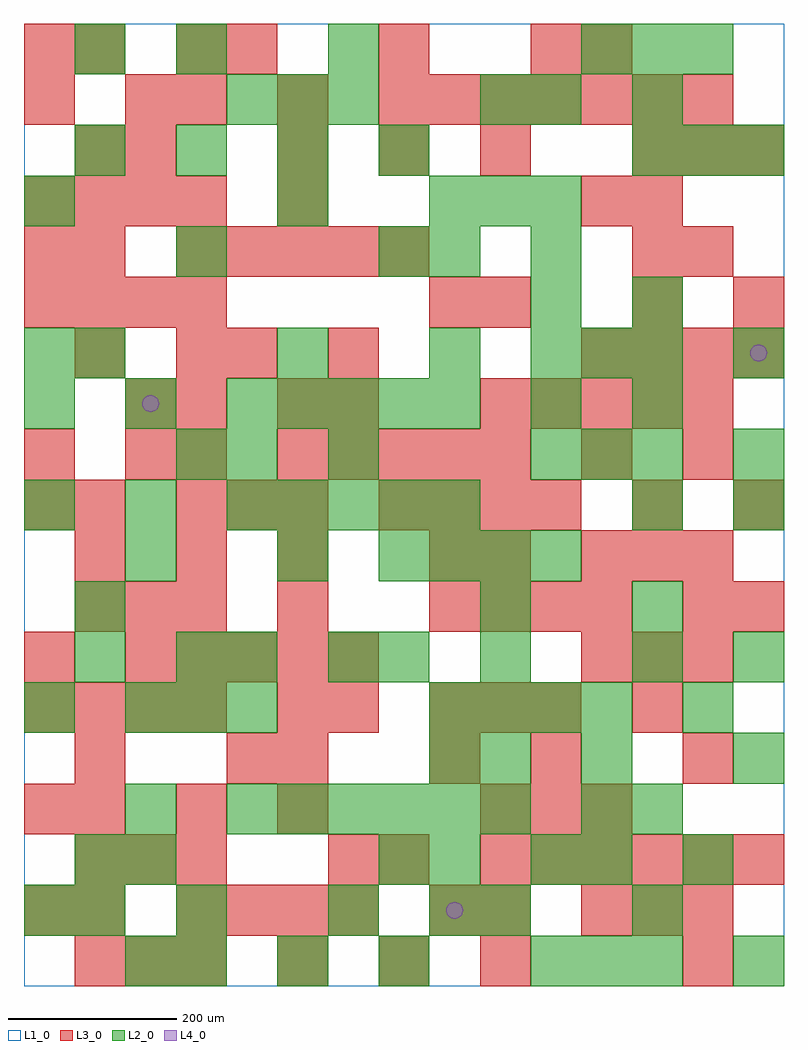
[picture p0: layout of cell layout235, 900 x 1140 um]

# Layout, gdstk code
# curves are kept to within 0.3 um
import gdstk
lib = gdstk.Library(unit=1e-6, precision=1e-09)
def R(c, l, rs):  # rectangles x0, y0, x1, y1
    for r in rs: c.add(gdstk.rectangle(r[:2], r[2:], *l))
def A(c, l, x, y, w, h, nx, ny, dx, dy):  # array of equal rectangles
    R(c, l, [(x+i*dx, y+j*dy, x+i*dx+w, y+j*dy+h) for i in range(nx) for j in range(ny)])
def P(c, l, *ps):  # polygons
    for p in ps: c.add(gdstk.Polygon(p, *l))
L1_0 = (1, 0)
L2_0 = (2, 0)
L3_0 = (3, 0)
L4_0 = (4, 0)

layout235 = lib.new_cell('layout235')
R(layout235, L1_0, [(0,0,900,1140)])
A(layout235, L2_0, 180, 0, 60, 60, 3, 1, 120, 0)
A(layout235, L2_0, 600, 0, 60, 60, 3, 2, 60, 600)
A(layout235, L2_0, 660, 120, 60, 60, 1, 3, 0, 60)
A(layout235, L2_0, 240, 180, 60, 60, 6, 1, 60, 0)
A(layout235, L2_0, 120, 300, 60, 60, 3, 1, 60, 0)
A(layout235, L2_0, 480, 300, 60, 60, 4, 1, 60, 0)
A(layout235, L2_0, 180, 360, 60, 60, 1, 4, 0, 240)
A(layout235, L2_0, 720, 420, 60, 60, 1, 4, 0, 120)
A(layout235, L2_0, 420, 480, 60, 60, 4, 1, 60, 0)
A(layout235, L2_0, 0, 540, 60, 60, 3, 2, 120, 120)
A(layout235, L2_0, 300, 540, 60, 60, 4, 2, 60, 120)
A(layout235, L2_0, 600, 720, 60, 60, 3, 1, 60, 0)
A(layout235, L2_0, 480, 900, 60, 60, 3, 1, 60, 0)
A(layout235, L2_0, 60, 960, 60, 60, 4, 1, 120, 0)
A(layout235, L2_0, 720, 960, 60, 60, 3, 1, 60, 0)
A(layout235, L2_0, 240, 1020, 60, 60, 3, 1, 60, 0)
A(layout235, L2_0, 660, 1080, 60, 60, 3, 1, 60, 0)
R(layout235, L2_0, [(120,0,180,60), (840,0,900,60), (0,60,60,120), (60,60,120,120), (180,60,240,120), (360,60,420,120), (480,60,540,120), (540,60,600,120), (720,60,780,120), (60,120,120,180), (120,120,180,180), (420,120,480,180), (480,120,540,180), (600,120,660,180), (780,120,840,180), (120,180,180,240), (720,180,780,240), (480,240,540,300), (540,240,600,300), (840,240,900,300), (0,300,60,360), (780,300,840,360), (60,360,120,420), (240,360,300,420), (360,360,420,420), (420,360,480,420), (540,360,600,420), (720,360,780,420), (840,360,900,420), (60,420,120,480), (540,420,600,480), (120,480,180,540), (300,480,360,540), (840,540,900,600), (240,600,300,660), (360,600,420,660), (840,600,900,660), (600,660,660,720), (0,720,60,780), (60,720,120,780), (300,720,360,780), (480,720,540,780), (840,720,900,780), (600,780,660,840), (420,840,480,900), (480,840,540,900), (600,840,660,900), (0,900,60,960), (300,900,360,960), (540,1020,600,1080), (600,1020,660,1080), (720,1020,780,1080), (60,1080,120,1140), (360,1080,420,1140)])
A(layout235, L3_0, 60, 0, 60, 60, 3, 2, 60, 120)
A(layout235, L3_0, 300, 0, 60, 60, 3, 2, 120, 960)
A(layout235, L3_0, 180, 60, 60, 60, 4, 1, 60, 0)
A(layout235, L3_0, 660, 60, 60, 60, 3, 2, 60, 300)
A(layout235, L3_0, 540, 120, 60, 60, 6, 1, 60, 0)
A(layout235, L3_0, 0, 180, 60, 60, 1, 3, 0, 180)
A(layout235, L3_0, 60, 180, 60, 60, 3, 2, 120, 300)
A(layout235, L3_0, 540, 180, 60, 60, 3, 1, 60, 0)
A(layout235, L3_0, 780, 240, 60, 60, 1, 3, 0, 180)
A(layout235, L3_0, 0, 300, 60, 60, 4, 2, 60, 480)
A(layout235, L3_0, 480, 300, 60, 60, 3, 1, 60, 0)
A(layout235, L3_0, 720, 300, 60, 60, 1, 3, 0, 240)
A(layout235, L3_0, 120, 360, 60, 60, 5, 1, 60, 0)
A(layout235, L3_0, 60, 420, 60, 60, 3, 1, 60, 0)
A(layout235, L3_0, 300, 420, 60, 60, 1, 3, 0, 240)
A(layout235, L3_0, 480, 420, 60, 60, 4, 1, 60, 0)
A(layout235, L3_0, 660, 480, 60, 60, 3, 1, 60, 0)
A(layout235, L3_0, 180, 540, 60, 60, 3, 1, 60, 0)
A(layout235, L3_0, 420, 540, 60, 60, 4, 1, 60, 0)
A(layout235, L3_0, 180, 600, 60, 60, 1, 3, 0, 60)
A(layout235, L3_0, 300, 600, 60, 60, 5, 1, 60, 0)
A(layout235, L3_0, 540, 660, 60, 60, 5, 1, 60, 0)
A(layout235, L3_0, 60, 720, 60, 60, 1, 4, 0, 120)
A(layout235, L3_0, 660, 720, 60, 60, 4, 1, 60, 0)
A(layout235, L3_0, 180, 840, 60, 60, 5, 1, 60, 0)
A(layout235, L3_0, 0, 900, 60, 60, 4, 1, 60, 0)
A(layout235, L3_0, 720, 960, 60, 60, 3, 1, 60, 0)
A(layout235, L3_0, 180, 1020, 60, 60, 3, 1, 120, 0)
A(layout235, L3_0, 480, 1020, 60, 60, 6, 1, 60, 0)
A(layout235, L3_0, 240, 1080, 60, 60, 3, 1, 180, 0)
R(layout235, L3_0, [(780,0,840,60), (0,60,60,120), (60,60,120,120), (480,60,540,120), (540,60,600,120), (360,120,420,180), (420,120,480,180), (60,240,120,300), (240,240,300,300), (300,240,360,300), (480,240,540,300), (600,240,660,300), (300,300,360,360), (360,300,420,360), (840,420,900,480), (480,480,540,540), (540,480,600,540), (60,540,120,600), (840,540,900,600), (0,600,60,660), (120,600,180,660), (660,600,720,660), (120,660,180,720), (360,660,420,720), (240,720,300,780), (360,720,420,780), (480,780,540,840), (540,780,600,840), (840,780,900,840), (0,840,60,900), (720,840,780,900), (780,840,840,900), (660,900,720,960), (720,900,780,960), (120,960,180,1020), (0,1020,60,1080), (120,1020,180,1080), (0,1080,60,1140), (180,1080,240,1140), (660,1080,720,1140)])
P(layout235, L4_0, [(160,690),(159.239,693.827),(157.071,697.071),(153.827,699.239),(150,700),(146.173,699.239),(142.929,697.071),(140.761,693.827),(140,690),(140.761,686.173),(142.929,682.929),(146.173,680.761),(150,680),(153.827,680.761),(157.071,682.929),(159.239,686.173)],
  [(520,90),(519.239,93.827),(517.071,97.071),(513.827,99.239),(510,100),(506.173,99.239),(502.929,97.071),(500.761,93.827),(500,90),(500.761,86.173),(502.929,82.929),(506.173,80.761),(510,80),(513.827,80.761),(517.071,82.929),(519.239,86.173)],
  [(880,750),(879.239,753.827),(877.071,757.071),(873.827,759.239),(870,760),(866.173,759.239),(862.929,757.071),(860.761,753.827),(860,750),(860.761,746.173),(862.929,742.929),(866.173,740.761),(870,740),(873.827,740.761),(877.071,742.929),(879.239,746.173)])

lib.write_gds('layout235.gds')
